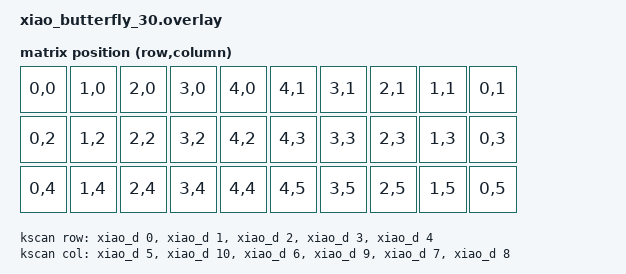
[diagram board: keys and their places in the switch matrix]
// Unibody (non-split) 30-key board, single Seeeduino XIAO BLE.
//
// Electrical matrix is 5 rows (xiao_d 0-4) x 6 columns (xiao_d 5,10,6,9,7,8),
// diode col2row. Each physical row of 10 keys is wired as a left half on one
// column pin and a right half (mirrored) on the paired column pin -- see the
// matrix-transform map below, which reads out in normal left-to-right,
// top-to-bottom physical order regardless of the underlying wiring.

#include <dt-bindings/zmk/matrix_transform.h>

#include "xiao_butterfly_30-layouts.dtsi"

/ {
    chosen {
        zmk,physical-layout = &default_layout;
        zmk,kscan = &kscan;
    };

    kscan: kscan {
        compatible = "zmk,kscan-gpio-matrix";
        diode-direction = "col2row";
        wakeup-source;

        col-gpios
            = <&xiao_d 5 GPIO_ACTIVE_HIGH>
            , <&xiao_d 10 GPIO_ACTIVE_HIGH>
            , <&xiao_d 6 GPIO_ACTIVE_HIGH>
            , <&xiao_d 9 GPIO_ACTIVE_HIGH>
            , <&xiao_d 7 GPIO_ACTIVE_HIGH>
            , <&xiao_d 8 GPIO_ACTIVE_HIGH>
            ;

        row-gpios
            = <&xiao_d 0 (GPIO_ACTIVE_HIGH | GPIO_PULL_DOWN)>
            , <&xiao_d 1 (GPIO_ACTIVE_HIGH | GPIO_PULL_DOWN)>
            , <&xiao_d 2 (GPIO_ACTIVE_HIGH | GPIO_PULL_DOWN)>
            , <&xiao_d 3 (GPIO_ACTIVE_HIGH | GPIO_PULL_DOWN)>
            , <&xiao_d 4 (GPIO_ACTIVE_HIGH | GPIO_PULL_DOWN)>
            ;
    };

    default_transform: default_transform {
        compatible = "zmk,matrix-transform";
        columns = <6>;
        rows = <5>;

        map = <
            RC(0,0) RC(1,0) RC(2,0) RC(3,0) RC(4,0)    RC(4,1) RC(3,1) RC(2,1) RC(1,1) RC(0,1)
            RC(0,2) RC(1,2) RC(2,2) RC(3,2) RC(4,2)    RC(4,3) RC(3,3) RC(2,3) RC(1,3) RC(0,3)
            RC(0,4) RC(1,4) RC(2,4) RC(3,4) RC(4,4)    RC(4,5) RC(3,5) RC(2,5) RC(1,5) RC(0,5)
        >;
    };
};
